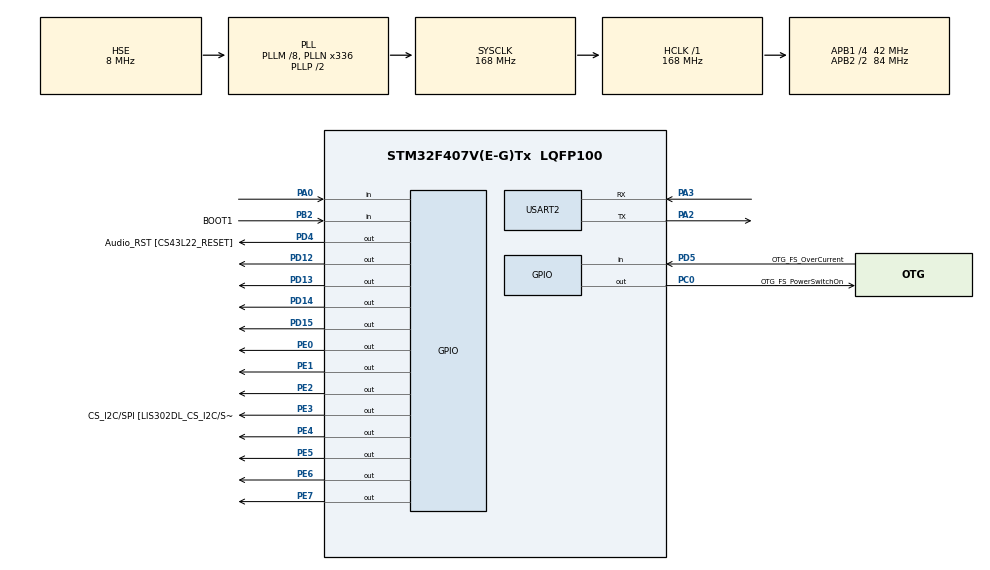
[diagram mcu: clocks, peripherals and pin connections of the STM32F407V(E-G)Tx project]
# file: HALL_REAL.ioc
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Mcu.Family=STM32F4
Mcu.Name=STM32F407V(E-G)Tx
Mcu.Package=LQFP100
NVIC.PriorityGroup=NVIC_PRIORITYGROUP_0
NVIC.TIM7_IRQn=true\:0\:0\:false\:true\:true\:2\:true\:true\:true
NVIC.USART2_IRQn=true\:0\:0\:false\:true\:true\:1\:true\:true\:true
PA0-WKUP.Signal=GPIO_Input
PA10.GPIO_Label=OTG_FS_ID
PA10.GPIO_Mode=GPIO_MODE_AF_PP
PA10.GPIO_PuPd=GPIO_NOPULL
PA10.GPIO_Speed=GPIO_SPEED_FREQ_LOW
PA10.Signal=USB_OTG_FS_ID
PA11.GPIO_Label=OTG_FS_DM
PA11.GPIO_Mode=GPIO_MODE_AF_PP
PA11.GPIO_PuPd=GPIO_NOPULL
PA11.GPIO_Speed=GPIO_SPEED_FREQ_LOW
PA11.Signal=USB_OTG_FS_DM
PA12.GPIO_Label=OTG_FS_DP
PA12.GPIO_Mode=GPIO_MODE_AF_PP
PA12.GPIO_PuPd=GPIO_NOPULL
PA12.GPIO_Speed=GPIO_SPEED_FREQ_LOW
PA12.Signal=USB_OTG_FS_DP
PA13.GPIO_Label=SWDIO
PA13.Mode=Serial_Wire
PA13.Signal=SYS_JTMS-SWDIO
PA14.GPIO_Label=SWCLK
PA14.Mode=Serial_Wire
PA14.Signal=SYS_JTCK-SWCLK
PA2.Mode=Asynchronous
PA2.Signal=USART2_TX
PA3.Mode=Asynchronous
PA3.Signal=USART2_RX
PA4.GPIO_Label=I2S3_WS [CS43L22_LRCK]
PA4.GPIO_Mode=GPIO_MODE_AF_PP
PA4.GPIO_PuPd=GPIO_NOPULL
PA4.GPIO_Speed=GPIO_SPEED_FREQ_LOW
PA4.Signal=I2S3_WS
PA5.GPIO_Label=SPI1_SCK [LIS302DL_SCL/SPC]
PA5.GPIO_Mode=GPIO_MODE_AF_PP
PA5.GPIO_PuPd=GPIO_NOPULL
PA5.GPIO_Speed=GPIO_SPEED_FREQ_LOW
PA5.Signal=SPI1_SCK
PA6.GPIO_Label=SPI1_MISO [LIS302DL_SDO]
PA6.GPIO_Mode=GPIO_MODE_AF_PP
PA6.GPIO_PuPd=GPIO_NOPULL
PA6.GPIO_Speed=GPIO_SPEED_FREQ_LOW
PA6.Signal=SPI1_MISO
PA7.GPIO_Label=SPI1_MOSI [LIS302DL_SDA/SDI/SDO]
PA7.GPIO_Mode=GPIO_MODE_AF_PP
PA7.GPIO_PuPd=GPIO_NOPULL
PA7.GPIO_Speed=GPIO_SPEED_FREQ_LOW
PA7.Signal=SPI1_MOSI
PA9.GPIO_Label=VBUS_FS
PA9.GPIO_Mode=GPIO_MODE_INPUT
PA9.GPIO_PuPd=GPIO_NOPULL
PA9.Signal=USB_OTG_FS_VBUS
PB10.GPIO_Label=CLK_IN [MP45DT02_CLK]
PB10.GPIO_Mode=GPIO_MODE_AF_PP
PB10.GPIO_PuPd=GPIO_NOPULL
PB10.GPIO_Speed=GPIO_SPEED_FREQ_LOW
PB10.Signal=I2S2_CK
PB2.GPIO_Label=BOOT1
PB2.GPIO_Mode=GPIO_MODE_INPUT
PB2.GPIO_PuPd=GPIO_NOPULL
PB2.Signal=GPIO_Input
PB3.GPIO_Label=SWO
PB3.Signal=SYS_JTDO-SWO
PB6.GPIO_Label=Audio_SCL [CS43L22_SCL]
PB6.GPIO_Mode=GPIO_MODE_AF_OD
PB6.GPIO_Pu=GPIO_PULLUP
PB6.GPIO_PuPd=GPIO_NOPULL
PB6.GPIO_Speed=GPIO_SPEED_FREQ_LOW
PB6.Signal=I2C1_SCL
PB9.GPIO_Label=Audio_SDA [CS43L22_SDA]
PB9.GPIO_Mode=GPIO_MODE_AF_OD
PB9.GPIO_Pu=GPIO_PULLUP
PB9.GPIO_PuPd=GPIO_NOPULL
PB9.GPIO_Speed=GPIO_SPEED_FREQ_LOW
PB9.Signal=I2C1_SDA
PC0.GPIO_Label=OTG_FS_PowerSwitchOn
PC0.GPIO_PuPd=GPIO_NOPULL
PC0.GPIO_Speed=GPIO_SPEED_FREQ_LOW
PC0.PinState=GPIO_PIN_SET
PC0.Signal=GPIO_Output
PC10.GPIO_Label=I2S3_SCK [CS43L22_SCLK]
PC10.GPIO_Mode=GPIO_MODE_AF_PP
PC10.GPIO_PuPd=GPIO_NOPULL
PC10.GPIO_Speed=GPIO_SPEED_FREQ_LOW
PC10.Signal=I2S3_CK
PC12.GPIO_Label=I2S3_SD [CS43L22_SDIN]
PC12.GPIO_Mode=GPIO_MODE_AF_PP
PC12.GPIO_PuPd=GPIO_NOPULL
PC12.GPIO_Speed=GPIO_SPEED_FREQ_LOW
PC12.Signal=I2S3_SD
PC14-OSC32_IN.GPIO_Label=PC14-OSC32_IN
PC14-OSC32_IN.Mode=LSE-External-Oscillator
PC14-OSC32_IN.Signal=RCC_OSC32_IN
PC15-OSC32_OUT.GPIO_Label=PC15-OSC32_OUT
PC15-OSC32_OUT.Mode=LSE-External-Oscillator
PC15-OSC32_OUT.Signal=RCC_OSC32_OUT
PC3.GPIO_Label=PDM_OUT [MP45DT02_DOUT]
PC3.GPIO_Mode=GPIO_MODE_AF_PP
PC3.GPIO_PuPd=GPIO_NOPULL
PC3.GPIO_Speed=GPIO_SPEED_FREQ_LOW
PC3.Signal=I2S2_SD
PC7.GPIO_Label=I2S3_MCK [CS43L22_MCLK]
PC7.GPIO_Mode=GPIO_MODE_AF_PP
PC7.GPIO_PuPd=GPIO_NOPULL
PC7.GPIO_Speed=GPIO_SPEED_FREQ_LOW
PC7.Signal=I2S3_MCK
PD12.Signal=GPIO_Output
PD13.Signal=GPIO_Output
PD14.Signal=GPIO_Output
PD15.Signal=GPIO_Output
PD4.GPIO_Label=Audio_RST [CS43L22_RESET]
PD4.GPIO_PuPd=GPIO_NOPULL
PD4.GPIO_Speed=GPIO_SPEED_FREQ_LOW
PD4.Signal=GPIO_Output
PD5.GPIO_Label=OTG_FS_OverCurrent
PD5.GPIO_Mode=GPIO_MODE_INPUT
PD5.GPIO_PuPd=GPIO_NOPULL
PD5.Signal=GPIO_Input
PE0.Signal=GPIO_Output
PE1.Signal=GPIO_Output
PE2.Signal=GPIO_Output
PE3.GPIO_Label=CS_I2C/SPI [LIS302DL_CS_I2C/SPI]
PE3.GPIO_PuPd=GPIO_NOPULL
PE3.GPIO_Speed=GPIO_SPEED_FREQ_LOW
PE3.Signal=GPIO_Output
PE4.Signal=GPIO_Output
PE5.Signal=GPIO_Output
PE6.Signal=GPIO_Output
PE7.Signal=GPIO_Output
PH0-OSC_IN.GPIO_Label=PH0-OSC_IN
PH0-OSC_IN.Mode=HSE-External-Oscillator
PH0-OSC_IN.Signal=RCC_OSC_IN
PH1-OSC_OUT.GPIO_Label=PH1-OSC_OUT
PH1-OSC_OUT.Mode=HSE-External-Oscillator
PH1-OSC_OUT.Signal=RCC_OSC_OUT
ProjectManager.HeapSize=0x200
ProjectManager.StackSize=0x400
ProjectManager.TargetToolchain=STM32CubeIDE
RCC.48MHZClocksFreq_Value=48000000
RCC.AHBFreq_Value=168000000
RCC.APB1CLKDivider=RCC_HCLK_DIV4
RCC.APB1Freq_Value=42000000
RCC.APB1TimFreq_Value=84000000
RCC.APB2CLKDivider=RCC_HCLK_DIV2
RCC.APB2Freq_Value=84000000
RCC.APB2TimFreq_Value=168000000
RCC.CortexFreq_Value=168000000
RCC.HCLKFreq_Value=168000000
RCC.HSE_VALUE=8000000
RCC.HSI_VALUE=16000000
RCC.PLLM=8
RCC.PLLN=336
RCC.PLLQ=7
RCC.PLLSourceVirtual=RCC_PLLSOURCE_HSE
RCC.SYSCLKFreq_VALUE=168000000
RCC.SYSCLKSource=RCC_SYSCLKSOURCE_PLLCLK
RCC.VCOOutputFreq_Value=336000000
TIM7.Period=8399
TIM7.Prescaler=9999
USART2.VirtualMode=VM_ASYNC
VP_TIM7_VS_ClockSourceINT.Mode=Enable_Timer
board=STM32F407G-DISC1

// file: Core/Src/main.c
/* USER CODE BEGIN Header */
/**
  ******************************************************************************
  * @file           : main.c
  * @brief          : Main program body
  ******************************************************************************
  * @attention
  *
  * Copyright (c) 2025 STMicroelectronics.
  * All rights reserved.
  *
  * This software is licensed under terms that can be found in the LICENSE file
  * in the root directory of this software component.
  * If no LICENSE file comes with this software, it is provided AS-IS.
  *
  ******************************************************************************
  */
/* USER CODE END Header */
#include "main.h"
#include "tim.h"
#include "usart.h"
#include "gpio.h"

/* USER CODE BEGIN Includes */
#include <stdio.h>
#include "clcd.h"

/* USER CODE END Includes */

/* USER CODE BEGIN PTD */
int _write(int file, char *p, int len)
{
    HAL_UART_Transmit(&huart2, (uint8_t*)p, len, HAL_MAX_DELAY);
    return len;
}

/* USER CODE END PTD */

/* USER CODE BEGIN PV */
uint8_t rx3_data;
/* USER CODE END PV */

void SystemClock_Config(void);
static void MX_NVIC_Init(void);

int main(void)
{

  /* MCU Configuration--------------------------------------------------------*/

  /* Reset of all peripherals, Initializes the Flash interface and the Systick. */
  HAL_Init();

  /* Configure the system clock */
  SystemClock_Config();

  /* Initialize all configured peripherals */
  MX_GPIO_Init();
  MX_USART2_UART_Init();
  MX_TIM7_Init();

  /* Initialize interrupts */
  MX_NVIC_Init();
  /* USER CODE BEGIN 2 */
  HAL_UART_Receive_IT(&huart2, &rx3_data, 1);

  CLCD_GPIO_Init();
  CLCD_Init();

  CLCD_Puts(0, 0, (unsigned char*)"Hello, Brian!");
  CLCD_Puts(0, 1, (unsigned char*)"STM32F407 + LCD");
  CLCD_CLEAR();

  /* USER CODE END 2 */

  /* Infinite loop */
  /* USER CODE BEGIN WHILE */
  uint8_t message[] = "Hello World\r\n";

  uint8_t a = 0;
  float f = 1.234;           // (not used, just like in the video)
  uint8_t str[20];

  while (1)
  {
	  sprintf((char*)str, "%d", a++);   // convert integer to string
	  CLCD_Puts(0, 0, str);             // print at row 0, col 0
	  HAL_Delay(1000);

    /* USER CODE END WHILE */

  }
}

void SystemClock_Config(void)
{
  RCC_OscInitTypeDef RCC_OscInitStruct = {0};
  RCC_ClkInitTypeDef RCC_ClkInitStruct = {0};

  /** Configure the main internal regulator output voltage
  */
  __HAL_RCC_PWR_CLK_ENABLE();
  __HAL_PWR_VOLTAGESCALING_CONFIG(PWR_REGULATOR_VOLTAGE_SCALE1);

  /** Initializes the RCC Oscillators according to the specified parameters
  * in the RCC_OscInitTypeDef structure.
  */
  RCC_OscInitStruct.OscillatorType = RCC_OSCILLATORTYPE_HSE;
  RCC_OscInitStruct.HSEState = RCC_HSE_ON;
  RCC_OscInitStruct.PLL.PLLState = RCC_PLL_ON;
  RCC_OscInitStruct.PLL.PLLSource = RCC_PLLSOURCE_HSE;
  RCC_OscInitStruct.PLL.PLLM = 8;
  RCC_OscInitStruct.PLL.PLLN = 336;
  RCC_OscInitStruct.PLL.PLLP = RCC_PLLP_DIV2;
  RCC_OscInitStruct.PLL.PLLQ = 7;
  if (HAL_RCC_OscConfig(&RCC_OscInitStruct) != HAL_OK)
  {
    Error_Handler();
  }

  /** Initializes the CPU, AHB and APB buses clocks
  */
  RCC_ClkInitStruct.ClockType = RCC_CLOCKTYPE_HCLK|RCC_CLOCKTYPE_SYSCLK
                              |RCC_CLOCKTYPE_PCLK1|RCC_CLOCKTYPE_PCLK2;
  RCC_ClkInitStruct.SYSCLKSource = RCC_SYSCLKSOURCE_PLLCLK;
  RCC_ClkInitStruct.AHBCLKDivider = RCC_SYSCLK_DIV1;
  RCC_ClkInitStruct.APB1CLKDivider = RCC_HCLK_DIV4;
  RCC_ClkInitStruct.APB2CLKDivider = RCC_HCLK_DIV2;

  if (HAL_RCC_ClockConfig(&RCC_ClkInitStruct, FLASH_LATENCY_5) != HAL_OK)
  {
    Error_Handler();
  }
}

/**
  * @brief NVIC Configuration.
  * @retval None
  */
static void MX_NVIC_Init(void)
{
  /* USART2_IRQn interrupt configuration */
  HAL_NVIC_SetPriority(USART2_IRQn, 0, 0);
  HAL_NVIC_EnableIRQ(USART2_IRQn);
  /* TIM7_IRQn interrupt configuration */
  HAL_NVIC_SetPriority(TIM7_IRQn, 0, 0);
  HAL_NVIC_EnableIRQ(TIM7_IRQn);
}

/* USER CODE BEGIN 4 */
void HAL_UART_RxCpltCallback(UART_HandleTypeDef *huart)
{
    if (huart->Instance == USART2)
    {
        // Re-enable interrupt for next byte
        HAL_UART_Receive_IT(&huart2, &rx3_data, 1);
        //prints back on the terminal
        HAL_UART_Transmit(&huart2, &rx3_data, 1, HAL_MAX_DELAY);
    }
}
/* USER CODE END 4 */

void Error_Handler(void)
{
  __disable_irq();
  while (1)
  {
  }
}
